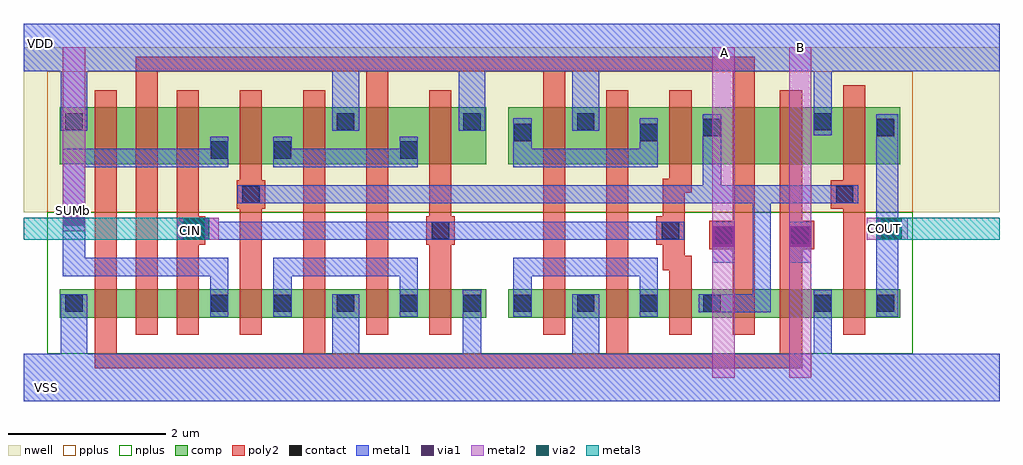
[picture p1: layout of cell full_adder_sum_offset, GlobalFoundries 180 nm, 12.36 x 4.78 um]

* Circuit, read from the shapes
.subckt full_adder_sum_offset A B CIN COUT SUMb VDD VSS
XM1 n1 B VSS VSUBS nfet_03v3 w=0.36u l=0.28u
XM2 n2 A n1 VSUBS nfet_03v3 w=0.36u l=0.28u
XM3 SUMb CIN n2 VSUBS nfet_03v3 w=0.36u l=0.28u
XM4 n3 n4 SUMb VSUBS nfet_03v3 w=0.36u l=0.28u
XM5 VSS B n3 VSUBS nfet_03v3 w=0.36u l=0.28u
XM6 n3 A VSS VSUBS nfet_03v3 w=0.36u l=0.28u
XM7 VSS CIN n3 VSUBS nfet_03v3 w=0.36u l=0.28u
XM8 VSS A n5 VSUBS nfet_03v3 w=0.36u l=0.28u
XM9 n5 B VSS VSUBS nfet_03v3 w=0.36u l=0.28u
XM10 n4 CIN n5 VSUBS nfet_03v3 w=0.36u l=0.28u
XM11 n6 A n4 VSUBS nfet_03v3 w=0.36u l=0.28u
XM12 VSS B n6 VSUBS nfet_03v3 w=0.36u l=0.28u
XM13 COUT n4 VSS VSUBS nfet_03v3 w=0.36u l=0.28u
XM14 n7 B VDD n8 pfet_03v3 w=0.72u l=0.28u
XM15 n9 A n7 n8 pfet_03v3 w=0.72u l=0.28u
XM16 SUMb CIN n9 n8 pfet_03v3 w=0.72u l=0.28u
XM17 n10 n4 SUMb n8 pfet_03v3 w=0.72u l=0.28u
XM18 VDD B n10 n8 pfet_03v3 w=0.72u l=0.28u
XM19 n10 A VDD n8 pfet_03v3 w=0.72u l=0.28u
XM20 VDD CIN n10 n8 pfet_03v3 w=0.72u l=0.28u
XM21 VDD A n11 n8 pfet_03v3 w=0.72u l=0.28u
XM22 n11 B VDD n8 pfet_03v3 w=0.72u l=0.28u
XM23 n4 CIN n11 n8 pfet_03v3 w=0.72u l=0.28u
XM24 n12 A n4 n8 pfet_03v3 w=0.72u l=0.28u
XM25 VDD B n12 n8 pfet_03v3 w=0.72u l=0.28u
XM26 COUT n4 VDD n8 pfet_03v3 w=0.72u l=0.28u
.ends

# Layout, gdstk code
import gdstk
lib = gdstk.Library(unit=1e-6, precision=5e-09)
def R(c, l, rs):  # rectangles x0, y0, x1, y1
    for r in rs: c.add(gdstk.rectangle(r[:2], r[2:], *l))
def A(c, l, x, y, w, h, nx, ny, dx, dy):  # array of equal rectangles
    R(c, l, [(x+i*dx, y+j*dy, x+i*dx+w, y+j*dy+h) for i in range(nx) for j in range(ny)])
nwell = (21, 0)
comp = (22, 0)
poly2 = (30, 0)
pplus = (31, 0)
nplus = (32, 0)
contact = (33, 0)
metal1 = (34, 0)
via1 = (35, 0)
metal2 = (36, 0)
via2 = (38, 0)
metal3 = (42, 0)

full_adder_sum_offset = lib.new_cell('full_adder_sum_offset')
R(full_adder_sum_offset, nwell, [(0,2.09,12.36,4.18)])
R(full_adder_sum_offset, comp, [(0.46,0.76,5.86,1.12), (6.14,0.76,11.1,1.12), (0.46,2.7,5.86,3.42), (6.14,2.7,11.1,3.42)])
R(full_adder_sum_offset, poly2, [(0.9,0.12,9.86,0.3), (0.9,0.3,1.18,3.64), (3.54,0.3,3.82,3.64), (7.38,0.3,7.66,3.64), (9.58,0.3,9.86,3.64), (1.42,0.54,1.7,3.88), (1.94,0.54,2.22,3.64), (2.74,0.54,3.02,3.64), (4.34,0.54,4.62,3.88), (5.14,0.54,5.42,3.64), (6.58,0.54,6.86,3.88), (8.18,0.54,8.46,1.36), (8.98,0.54,9.26,3.88), (10.38,0.54,10.66,3.7), (8.095,1.36,8.46,1.54), (8.095,1.54,8.375,2.34), (8.685,1.625,9.045,1.985), (9.655,1.625,10.015,1.985), (1.94,1.68,2.3,2.04), (5.1,1.68,5.46,2.04), (8.015,1.68,8.375,2.04), (2.7,2.14,3.06,2.5), (10.22,2.14,10.58,2.5), (8.095,2.34,8.46,2.52), (8.18,2.52,8.46,3.64), (1.42,3.88,9.26,4.06)])
R(full_adder_sum_offset, pplus, [(0.3,2.09,11.26,3.88)])
R(full_adder_sum_offset, nplus, [(0.3,0.3,11.26,2.09)])
A(full_adder_sum_offset, contact, 2.37, 0.83, 0.22, 0.22, 5, 1, 0.8, 0)
A(full_adder_sum_offset, contact, 6.21, 0.83, 0.22, 0.22, 4, 1, 0.8, 0)
R(full_adder_sum_offset, contact, [(0.53,0.83,0.75,1.05), (10.01,0.83,10.23,1.05), (10.81,0.83,11.03,1.05), (8.755,1.695,8.975,1.915), (9.725,1.695,9.945,1.915), (2.01,1.75,2.23,1.97), (5.17,1.75,5.39,1.97), (8.085,1.75,8.305,1.97), (2.77,2.21,2.99,2.43), (10.29,2.21,10.51,2.43), (2.37,2.77,2.59,2.99), (3.17,2.77,3.39,2.99), (4.77,2.77,4.99,2.99), (6.21,2.995,6.43,3.215), (7.81,2.995,8.03,3.215), (8.61,3.055,8.83,3.275), (10.81,3.055,11.03,3.275), (0.53,3.13,0.75,3.35), (3.97,3.13,4.19,3.35), (5.57,3.13,5.79,3.35), (7.01,3.13,7.23,3.35), (10.01,3.13,10.23,3.35)])
R(full_adder_sum_offset, metal1, [(0,-0.3,12.36,0.3), (0.47,0.3,0.81,1.055), (3.91,0.3,4.25,1.055), (5.565,0.3,5.795,1.11), (6.95,0.3,7.29,1.055), (10.005,0.3,10.235,1.11), (2.365,0.77,2.595,1.515), (3.165,0.77,3.395,1.515), (4.765,0.77,4.995,1.515), (6.205,0.77,6.435,1.515), (7.805,0.77,8.035,1.515), (10.8,0.77,11.08,3.335), (8.55,0.825,9.465,1.055), (9.235,1.055,9.465,2.205), (0.5,1.285,2.365,1.515), (3.395,1.285,4.765,1.515), (6.435,1.285,7.805,1.515), (8.725,1.455,9.005,1.975), (9.695,1.455,9.975,1.975), (0.5,1.515,0.78,2.665), (1.95,1.745,8.365,1.975), (1.95,1.745,2.47,2.025), (2.71,2.205,10.57,2.435), (8.605,2.435,8.835,3.335), (0.5,2.665,2.365,2.895), (2.365,2.665,2.595,3.05), (3.165,2.665,3.395,3.05), (3.395,2.665,4.765,2.895), (4.765,2.665,4.995,3.05), (6.205,2.665,6.435,3.285), (6.435,2.665,7.805,2.895), (7.805,2.665,8.035,3.285), (10.005,3.07,10.235,3.88), (0.47,3.125,0.81,3.88), (3.91,3.125,4.25,3.88), (5.51,3.125,5.85,3.88), (6.95,3.125,7.29,3.88), (0,3.88,12.36,4.48)])
R(full_adder_sum_offset, via1, [(8.735,1.655,8.995,1.915), (9.705,1.655,9.965,1.915), (2.08,1.755,2.34,2.015), (10.81,1.755,11.07,2.015), (0.51,1.92,0.77,2.18)])
R(full_adder_sum_offset, metal2, [(8.725,0,9.005,4.18), (9.695,0,9.975,4.18), (1.95,1.745,2.47,2.025), (10.68,1.745,11.2,2.025), (0.5,1.85,0.78,4.18)])
R(full_adder_sum_offset, via2, [(2.03,1.755,2.29,2.015), (10.86,1.755,11.12,2.015)])
R(full_adder_sum_offset, metal3, [(0,1.745,2.35,2.025), (10.8,1.745,12.36,2.025)])
full_adder_sum_offset.add(gdstk.Label('VDD', (0.22,4.23), layer=34, texttype=10))
full_adder_sum_offset.add(gdstk.Label('VSS', (0.295,-0.12), layer=34, texttype=10))
full_adder_sum_offset.add(gdstk.Label('SUMb', (0.635,2.11), layer=34, texttype=10))
full_adder_sum_offset.add(gdstk.Label('CIN', (2.12,1.86), layer=34, texttype=10))
full_adder_sum_offset.add(gdstk.Label('COUT', (10.905,1.885), layer=34, texttype=10))
full_adder_sum_offset.add(gdstk.Label('A', (8.875,4.12), layer=36, texttype=10))
full_adder_sum_offset.add(gdstk.Label('B', (9.835,4.18), layer=36, texttype=10))

lib.write_gds('full_adder_sum_offset.gds')
